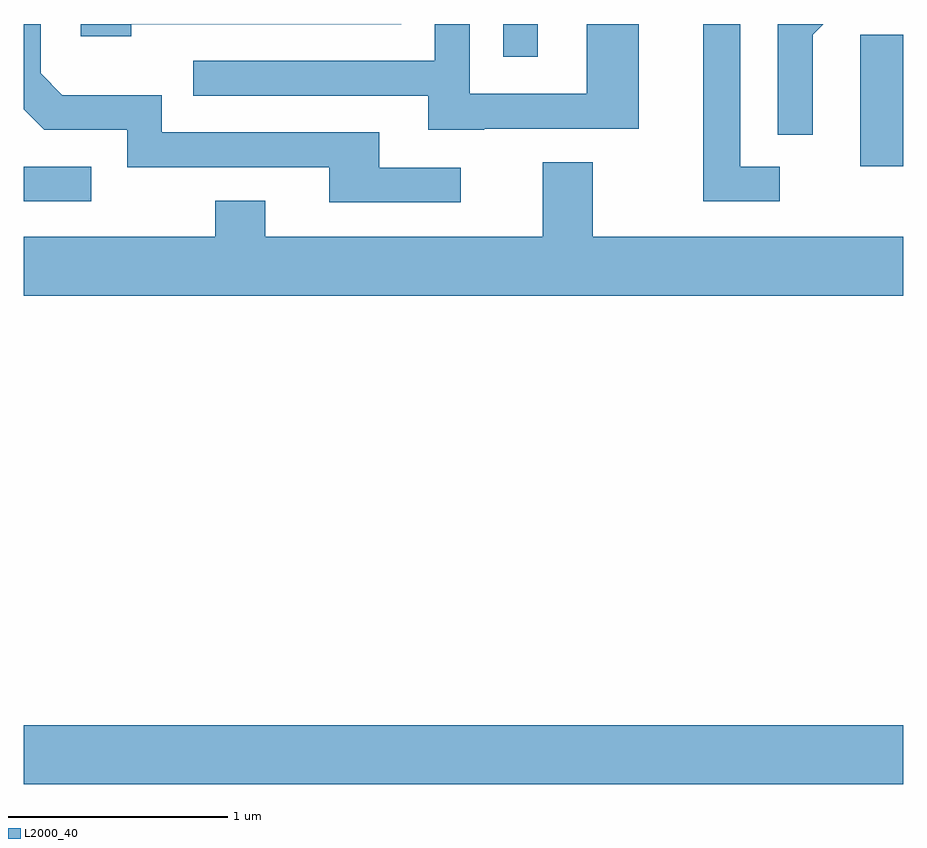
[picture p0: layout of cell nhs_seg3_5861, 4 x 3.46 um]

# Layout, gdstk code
import gdstk
lib = gdstk.Library(unit=1e-6, precision=1e-09)
def R(c, l, rs):  # rectangles x0, y0, x1, y1
    for r in rs: c.add(gdstk.rectangle(r[:2], r[2:], *l))
def P(c, l, *ps):  # polygons
    for p in ps: c.add(gdstk.Polygon(p, *l))
L2000_40 = (2000, 40)

nhs_seg3_5861 = lib.new_cell('nhs_seg3_5861')
R(nhs_seg3_5861, L2000_40, [(357.611,1150.436,361.611,1150.704), (357.611,1153.086,357.918,1153.244), (361.416,1153.246,361.611,1153.844), (359.791,1153.743,359.949,1153.892)])
P(nhs_seg3_5861, L2000_40, [(361.048,1153.244),(360.869,1153.244),(360.869,1153.892),(360.701,1153.892),(360.701,1153.086),(361.048,1153.086)],
  [(358.099,1153.891),(359.329,1153.891),(359.329,1153.892),(357.871,1153.892),(357.871,1153.836),(358.099,1153.836)],
  [(361.199,1153.844),(361.247,1153.892),(361.041,1153.892),(361.041,1153.388),(361.199,1153.388)],
  [(359.598,1153.239),(359.229,1153.239),(359.229,1153.399),(358.239,1153.399),(358.239,1153.569),(357.787,1153.569),(357.689,1153.667),(357.689,1153.892),(357.611,1153.892),(357.611,1153.504),(357.704,1153.411),(358.081,1153.411),(358.081,1153.241),(359.001,1153.241),(359.001,1153.081),(359.598,1153.081)],
  [(359.705,1153.416),(360.409,1153.416),(360.409,1153.892),(360.171,1153.892),(360.171,1153.574),(359.639,1153.574),(359.639,1153.892),(359.481,1153.892),(359.481,1153.724),(358.383,1153.724),(358.383,1153.566),(359.451,1153.566),(359.451,1153.411),(359.705,1153.411)],
  [(361.611,1152.924),(360.199,1152.924),(360.199,1153.264),(359.971,1153.264),(359.971,1152.924),(358.709,1152.924),(358.709,1153.089),(358.481,1153.089),(358.481,1152.924),(357.611,1152.924),(357.611,1152.656),(361.611,1152.656)])

lib.write_gds('nhs_seg3_5861.gds')
